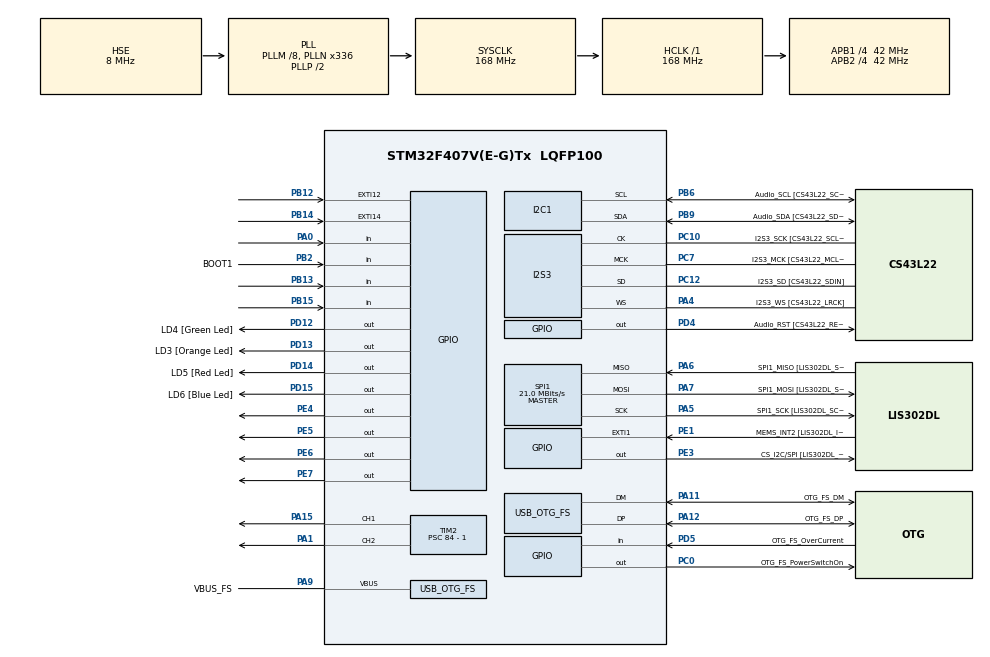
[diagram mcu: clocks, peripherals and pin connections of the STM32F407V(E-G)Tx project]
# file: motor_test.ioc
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I2S3.AudioFreq-Half_Duplex_Master=I2S_AUDIOFREQ_96K
I2S3.ErrorAudioFreq=-2.34 %
I2S3.ErrorAudioFreq-Half_Duplex_Master=0.8 %
I2S3.FullDuplexMode=I2S_FULLDUPLEXMODE_DISABLE
I2S3.Instance=SPI$Index
I2S3.RealAudioFreq=93.75 KHz
I2S3.RealAudioFreq-Half_Duplex_Master=96.774 KHz
I2S3.VirtualMode=I2S_MODE_MASTER
Mcu.Family=STM32F4
Mcu.Name=STM32F407V(E-G)Tx
Mcu.Package=LQFP100
NVIC.EXTI15_10_IRQn=true\:0\:0\:false\:false\:true\:true\:true\:true
NVIC.OTG_FS_IRQn=true\:0\:0\:false\:false\:true\:true\:true\:true
NVIC.PriorityGroup=NVIC_PRIORITYGROUP_0
NVIC.TIM3_IRQn=true\:0\:0\:false\:false\:true\:true\:true\:true
PA0-WKUP.GPIO_PuPd=GPIO_NOPULL
PA0-WKUP.Signal=GPIO_Input
PA1.Signal=S_TIM2_CH2
PA10.GPIO_Label=OTG_FS_ID
PA10.GPIO_Mode=GPIO_MODE_AF_PP
PA10.GPIO_PuPd=GPIO_NOPULL
PA10.GPIO_Speed=GPIO_SPEED_FREQ_LOW
PA10.Signal=USB_OTG_FS_ID
PA11.GPIO_Label=OTG_FS_DM
PA11.GPIO_Mode=GPIO_MODE_AF_PP
PA11.GPIO_PuPd=GPIO_NOPULL
PA11.GPIO_Speed=GPIO_SPEED_FREQ_LOW
PA11.Mode=Host_Only
PA11.Signal=USB_OTG_FS_DM
PA12.GPIO_Label=OTG_FS_DP
PA12.GPIO_Mode=GPIO_MODE_AF_PP
PA12.GPIO_PuPd=GPIO_NOPULL
PA12.GPIO_Speed=GPIO_SPEED_FREQ_LOW
PA12.Mode=Host_Only
PA12.Signal=USB_OTG_FS_DP
PA13.GPIO_Label=SWDIO
PA13.Mode=Serial_Wire
PA13.Signal=SYS_JTMS-SWDIO
PA14.GPIO_Label=SWCLK
PA14.Mode=Serial_Wire
PA14.Signal=SYS_JTCK-SWCLK
PA15.Signal=S_TIM2_CH1_ETR
PA4.GPIO_Label=I2S3_WS [CS43L22_LRCK]
PA4.GPIO_Mode=GPIO_MODE_AF_PP
PA4.GPIO_PuPd=GPIO_NOPULL
PA4.GPIO_Speed=GPIO_SPEED_FREQ_LOW
PA4.Mode=Half_Duplex_Master
PA4.Signal=I2S3_WS
PA5.GPIO_Label=SPI1_SCK [LIS302DL_SCL/SPC]
PA5.GPIO_Mode=GPIO_MODE_AF_PP
PA5.GPIO_PuPd=GPIO_NOPULL
PA5.GPIO_Speed=GPIO_SPEED_FREQ_LOW
PA5.Mode=Full_Duplex_Master
PA5.Signal=SPI1_SCK
PA6.GPIO_Label=SPI1_MISO [LIS302DL_SDO]
PA6.GPIO_Mode=GPIO_MODE_AF_PP
PA6.GPIO_PuPd=GPIO_NOPULL
PA6.GPIO_Speed=GPIO_SPEED_FREQ_LOW
PA6.Mode=Full_Duplex_Master
PA6.Signal=SPI1_MISO
PA7.GPIO_Label=SPI1_MOSI [LIS302DL_SDA/SDI/SDO]
PA7.GPIO_Mode=GPIO_MODE_AF_PP
PA7.GPIO_PuPd=GPIO_NOPULL
PA7.GPIO_Speed=GPIO_SPEED_FREQ_LOW
PA7.Mode=Full_Duplex_Master
PA7.Signal=SPI1_MOSI
PA9.GPIO_Label=VBUS_FS
PA9.GPIO_Mode=GPIO_MODE_INPUT
PA9.GPIO_PuPd=GPIO_NOPULL
PA9.Mode=Activate_VBUS
PA9.Signal=USB_OTG_FS_VBUS
PB10.GPIO_Label=CLK_IN [MP45DT02_CLK]
PB10.GPIO_Mode=GPIO_MODE_AF_PP
PB10.GPIO_PuPd=GPIO_NOPULL
PB10.GPIO_Speed=GPIO_SPEED_FREQ_LOW
PB10.Signal=I2S2_CK
PB12.GPIO_ModeDefaultEXTI=GPIO_MODE_IT_RISING_FALLING
PB12.GPIO_PuPd=GPIO_PULLDOWN
PB12.Signal=GPXTI12
PB13.GPIO_PuPd=GPIO_PULLDOWN
PB13.Signal=GPIO_Input
PB14.GPIO_ModeDefaultEXTI=GPIO_MODE_IT_RISING_FALLING
PB14.GPIO_PuPd=GPIO_PULLDOWN
PB14.Signal=GPXTI14
PB15.GPIO_PuPd=GPIO_PULLDOWN
PB15.Signal=GPIO_Input
PB2.GPIO_Label=BOOT1
PB2.GPIO_Mode=GPIO_MODE_INPUT
PB2.GPIO_PuPd=GPIO_NOPULL
PB2.Signal=GPIO_Input
PB3.GPIO_Label=SWO
PB3.Signal=SYS_JTDO-SWO
PB6.GPIO_Label=Audio_SCL [CS43L22_SCL]
PB6.GPIO_Mode=GPIO_MODE_AF_OD
PB6.GPIO_Pu=GPIO_PULLUP
PB6.GPIO_PuPd=GPIO_NOPULL
PB6.GPIO_Speed=GPIO_SPEED_FREQ_LOW
PB6.Mode=I2C
PB6.Signal=I2C1_SCL
PB9.GPIO_Label=Audio_SDA [CS43L22_SDA]
PB9.GPIO_Mode=GPIO_MODE_AF_OD
PB9.GPIO_Pu=GPIO_PULLUP
PB9.GPIO_PuPd=GPIO_NOPULL
PB9.GPIO_Speed=GPIO_SPEED_FREQ_LOW
PB9.Mode=I2C
PB9.Signal=I2C1_SDA
PC0.GPIO_Label=OTG_FS_PowerSwitchOn
PC0.GPIO_PuPd=GPIO_NOPULL
PC0.GPIO_Speed=GPIO_SPEED_FREQ_LOW
PC0.PinState=GPIO_PIN_SET
PC0.Signal=GPIO_Output
PC10.GPIO_Label=I2S3_SCK [CS43L22_SCLK]
PC10.GPIO_Mode=GPIO_MODE_AF_PP
PC10.GPIO_PuPd=GPIO_NOPULL
PC10.GPIO_Speed=GPIO_SPEED_FREQ_LOW
PC10.Mode=Half_Duplex_Master
PC10.Signal=I2S3_CK
PC12.GPIO_Label=I2S3_SD [CS43L22_SDIN]
PC12.GPIO_Mode=GPIO_MODE_AF_PP
PC12.GPIO_PuPd=GPIO_NOPULL
PC12.GPIO_Speed=GPIO_SPEED_FREQ_LOW
PC12.Mode=Half_Duplex_Master
PC12.Signal=I2S3_SD
PC14-OSC32_IN.GPIO_Label=PC14-OSC32_IN
PC14-OSC32_IN.Mode=LSE-External-Oscillator
PC14-OSC32_IN.Signal=RCC_OSC32_IN
PC15-OSC32_OUT.GPIO_Label=PC15-OSC32_OUT
PC15-OSC32_OUT.Mode=LSE-External-Oscillator
PC15-OSC32_OUT.Signal=RCC_OSC32_OUT
PC3.GPIO_Label=PDM_OUT [MP45DT02_DOUT]
PC3.GPIO_Mode=GPIO_MODE_AF_PP
PC3.GPIO_PuPd=GPIO_NOPULL
PC3.GPIO_Speed=GPIO_SPEED_FREQ_LOW
PC3.Signal=I2S2_SD
PC7.GPIO_Label=I2S3_MCK [CS43L22_MCLK]
PC7.GPIO_Mode=GPIO_MODE_AF_PP
PC7.GPIO_PuPd=GPIO_NOPULL
PC7.GPIO_Speed=GPIO_SPEED_FREQ_LOW
PC7.Mode=Master_Clock_Activated
PC7.Signal=I2S3_MCK
PD12.GPIO_Label=LD4 [Green Led]
PD12.GPIO_PuPd=GPIO_NOPULL
PD12.GPIO_Speed=GPIO_SPEED_FREQ_LOW
PD12.Signal=GPIO_Output
PD13.GPIO_Label=LD3 [Orange Led]
PD13.GPIO_PuPd=GPIO_NOPULL
PD13.GPIO_Speed=GPIO_SPEED_FREQ_LOW
PD13.Signal=GPIO_Output
PD14.GPIO_Label=LD5 [Red Led]
PD14.GPIO_PuPd=GPIO_NOPULL
PD14.GPIO_Speed=GPIO_SPEED_FREQ_LOW
PD14.Signal=GPIO_Output
PD15.GPIO_Label=LD6 [Blue Led]
PD15.GPIO_PuPd=GPIO_NOPULL
PD15.GPIO_Speed=GPIO_SPEED_FREQ_LOW
PD15.Signal=GPIO_Output
PD4.GPIO_Label=Audio_RST [CS43L22_RESET]
PD4.GPIO_PuPd=GPIO_NOPULL
PD4.GPIO_Speed=GPIO_SPEED_FREQ_LOW
PD4.Signal=GPIO_Output
PD5.GPIO_Label=OTG_FS_OverCurrent
PD5.GPIO_Mode=GPIO_MODE_INPUT
PD5.GPIO_PuPd=GPIO_NOPULL
PD5.Signal=GPIO_Input
PE1.GPIO_Label=MEMS_INT2 [LIS302DL_INT2]
PE1.GPIO_ModeDefaultEXTI=GPIO_MODE_EVT_RISING
PE1.GPIO_PuPd=GPIO_NOPULL
PE1.Signal=GPXTI1
PE3.GPIO_Label=CS_I2C/SPI [LIS302DL_CS_I2C/SPI]
PE3.GPIO_PuPd=GPIO_NOPULL
PE3.GPIO_Speed=GPIO_SPEED_FREQ_LOW
PE3.Signal=GPIO_Output
PE4.Signal=GPIO_Output
PE5.Signal=GPIO_Output
PE6.Signal=GPIO_Output
PE7.Signal=GPIO_Output
PH0-OSC_IN.GPIO_Label=PH0-OSC_IN
PH0-OSC_IN.Mode=HSE-External-Oscillator
PH0-OSC_IN.Signal=RCC_OSC_IN
PH1-OSC_OUT.GPIO_Label=PH1-OSC_OUT
PH1-OSC_OUT.Mode=HSE-External-Oscillator
PH1-OSC_OUT.Signal=RCC_OSC_OUT
ProjectManager.HeapSize=0x200
ProjectManager.StackSize=0x400
ProjectManager.TargetToolchain=STM32CubeIDE
RCC.48MHZClocksFreq_Value=48000000
RCC.AHBFreq_Value=168000000
RCC.APB1CLKDivider=RCC_HCLK_DIV4
RCC.APB1Freq_Value=42000000
RCC.APB1TimFreq_Value=84000000
RCC.APB2CLKDivider=RCC_HCLK_DIV4
RCC.APB2Freq_Value=42000000
RCC.APB2TimFreq_Value=84000000
RCC.CortexFreq_Value=168000000
RCC.HCLKFreq_Value=168000000
RCC.HSE_VALUE=8000000
RCC.HSI_VALUE=16000000
RCC.PLLM=8
RCC.PLLN=336
RCC.PLLQ=7
RCC.SYSCLKFreq_VALUE=168000000
RCC.SYSCLKSource=RCC_SYSCLKSOURCE_PLLCLK
RCC.VCOOutputFreq_Value=336000000
SH.S_TIM2_CH1_ETR.0=TIM2_CH1,PWM Generation1 CH1
SH.S_TIM2_CH2.0=TIM2_CH2,PWM Generation2 CH2
SPI1.BaudRatePrescaler-Full_Duplex_Master=SPI_BAUDRATEPRESCALER_2
SPI1.CalculateBaudRate=21.0 MBits/s
SPI1.CalculateBaudRate-Full_Duplex_Master=42.0 MBits/s
SPI1.Direction=SPI_DIRECTION_2LINES
SPI1.Mode=SPI_MODE_MASTER
SPI1.Mode-Full_Duplex_Master=SPI_MODE_MASTER
SPI1.VirtualType=VM_MASTER
TIM2.Channel-PWM\ Generation1\ CH1=TIM_CHANNEL_1
TIM2.Channel-PWM\ Generation2\ CH2=TIM_CHANNEL_2
TIM2.Period=1000 - 1
TIM2.Prescaler=84 - 1
TIM3.AutoReloadPreload=TIM_AUTORELOAD_PRELOAD_ENABLE
TIM3.Period=1000-1
TIM3.Prescaler=(84*100)-1
USB_HOST.BSP.number=1
USB_HOST.USBH_HandleTypeDef-CDC_FS=hUsbHostFS
USB_HOST.VirtualModeFS=Cdc
USB_HOST0.BSP.STBoard=false
USB_HOST0.BSP.api=Unknown
USB_HOST0.BSP.i2caddr=0
USB_HOST0.BSP.i2creg=0
USB_HOST0.BSP.instance=PC0
USB_HOST0.BSP.ip=GPIO
USB_HOST0.BSP.mode=Output
USB_HOST0.BSP.name=Drive_VBUS_FS
USB_HOST0.BSP.solution=PC0
USB_OTG_FS.VirtualMode=Host_Only
USB_OTG_FS.phy_itface=HCD_PHY_EMBEDDED
VP_TIM2_VS_ClockSourceINT.Mode=Internal
VP_TIM3_VS_ClockSourceINT.Mode=Internal
VP_USB_HOST_VS_USB_HOST_CDC_FS.Mode=CDC_FS
board=STM32F407G-DISC1

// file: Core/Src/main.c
/* USER CODE BEGIN Header */
/**
  ******************************************************************************
  * @file           : main.c
  * @brief          : Main program body
  ******************************************************************************
  * @attention
  *
  * Copyright (c) 2022 STMicroelectronics.
  * All rights reserved.
  *
  * This software is licensed under terms that can be found in the LICENSE file
  * in the root directory of this software component.
  * If no LICENSE file comes with this software, it is provided AS-IS.
  *
  ******************************************************************************
  */
/* USER CODE END Header */
#include "main.h"
#include "usb_host.h"

 I2C_HandleTypeDef hi2c1;

I2S_HandleTypeDef hi2s3;

SPI_HandleTypeDef hspi1;

TIM_HandleTypeDef htim2;
TIM_HandleTypeDef htim3;

void SystemClock_Config(void);
static void MX_GPIO_Init(void);
static void MX_I2C1_Init(void);
static void MX_I2S3_Init(void);
static void MX_SPI1_Init(void);
static void MX_TIM2_Init(void);
static void MX_TIM3_Init(void);
void MX_USB_HOST_Process(void);

/* USER CODE BEGIN PFP */
void HAL_GPIO_EXTI_Callback(uint16_t GPIO_Pin);
void HAL_TIM_PeriodElapsedCallback(TIM_HandleTypeDef *htim);
/* USER CODE END PFP */

/* USER CODE BEGIN 0 */
int wheel_1_Step = 0;
int wheel_2_Step = 0;
int wheel_1_Round = 0;
int wheel_2_Round = 0;

int last_Wheel_1_Step = 0;
int last_Wheel_2_Step = 0;
int last_Wheel_1_Round = 0;
int last_Wheel_2_Round = 0;

int wheel_1_Velocity = 0;
int wheel_2_Velocity = 0;

int button;
int reverse = 0;

int pwm_Val = 0;

int step_Per_Round_1 = 1000;
int step_Per_Round_2 = 1000;
/* USER CODE END 0 */

int main(void)
{

  /* MCU Configuration--------------------------------------------------------*/

  /* Reset of all peripherals, Initializes the Flash interface and the Systick. */
  HAL_Init();

  /* Configure the system clock */
  SystemClock_Config();

  /* Initialize all configured peripherals */
  MX_GPIO_Init();
  MX_I2C1_Init();
  MX_I2S3_Init();
  MX_SPI1_Init();
  MX_USB_HOST_Init();
  MX_TIM2_Init();
  MX_TIM3_Init();
  /* USER CODE BEGIN 2 */
  if(!reverse){
	  HAL_GPIO_WritePin(GPIOE, GPIO_PIN_4, GPIO_PIN_SET);
	  HAL_GPIO_WritePin(GPIOE, GPIO_PIN_5, GPIO_PIN_RESET);
	  HAL_GPIO_WritePin(GPIOE, GPIO_PIN_6, GPIO_PIN_SET);
	  HAL_GPIO_WritePin(GPIOE, GPIO_PIN_7, GPIO_PIN_RESET);
  }
  else{
	  HAL_GPIO_WritePin(GPIOE, GPIO_PIN_5, GPIO_PIN_SET);
	  HAL_GPIO_WritePin(GPIOE, GPIO_PIN_4, GPIO_PIN_RESET);
	  HAL_GPIO_WritePin(GPIOE, GPIO_PIN_7, GPIO_PIN_SET);
	  HAL_GPIO_WritePin(GPIOE, GPIO_PIN_6, GPIO_PIN_RESET);
  }

  TIM2->CCR1 = pwm_Val;
  TIM2->CCR2 = pwm_Val;

  HAL_TIM_PWM_Start(&htim2, TIM_CHANNEL_1);
  HAL_TIM_PWM_Start(&htim2, TIM_CHANNEL_2);

  HAL_TIM_Base_Start_IT(&htim3);

  /* USER CODE END 2 */

  /* Infinite loop */
  while (1)
  {
    MX_USB_HOST_Process();

    /* USER CODE BEGIN 3 */
    button = HAL_GPIO_ReadPin(GPIOA, GPIO_PIN_0);

    if(HAL_GPIO_ReadPin(GPIOA, GPIO_PIN_0) == GPIO_PIN_SET){

    	  HAL_TIM_PWM_Stop(&htim2, TIM_CHANNEL_1);
    	  HAL_TIM_PWM_Stop(&htim2, TIM_CHANNEL_2);
    }
  }
  /* USER CODE END 3 */
}

void SystemClock_Config(void)
{
  RCC_OscInitTypeDef RCC_OscInitStruct = {0};
  RCC_ClkInitTypeDef RCC_ClkInitStruct = {0};

  /** Configure the main internal regulator output voltage
  */
  __HAL_RCC_PWR_CLK_ENABLE();
  __HAL_PWR_VOLTAGESCALING_CONFIG(PWR_REGULATOR_VOLTAGE_SCALE1);

  /** Initializes the RCC Oscillators according to the specified parameters
  * in the RCC_OscInitTypeDef structure.
  */
  RCC_OscInitStruct.OscillatorType = RCC_OSCILLATORTYPE_HSE;
  RCC_OscInitStruct.HSEState = RCC_HSE_ON;
  RCC_OscInitStruct.PLL.PLLState = RCC_PLL_ON;
  RCC_OscInitStruct.PLL.PLLSource = RCC_PLLSOURCE_HSE;
  RCC_OscInitStruct.PLL.PLLM = 8;
  RCC_OscInitStruct.PLL.PLLN = 336;
  RCC_OscInitStruct.PLL.PLLP = RCC_PLLP_DIV2;
  RCC_OscInitStruct.PLL.PLLQ = 7;
  if (HAL_RCC_OscConfig(&RCC_OscInitStruct) != HAL_OK)
  {
    Error_Handler();
  }

  /** Initializes the CPU, AHB and APB buses clocks
  */
  RCC_ClkInitStruct.ClockType = RCC_CLOCKTYPE_HCLK|RCC_CLOCKTYPE_SYSCLK
                              |RCC_CLOCKTYPE_PCLK1|RCC_CLOCKTYPE_PCLK2;
  RCC_ClkInitStruct.SYSCLKSource = RCC_SYSCLKSOURCE_PLLCLK;
  RCC_ClkInitStruct.AHBCLKDivider = RCC_SYSCLK_DIV1;
  RCC_ClkInitStruct.APB1CLKDivider = RCC_HCLK_DIV4;
  RCC_ClkInitStruct.APB2CLKDivider = RCC_HCLK_DIV4;

  if (HAL_RCC_ClockConfig(&RCC_ClkInitStruct, FLASH_LATENCY_5) != HAL_OK)
  {
    Error_Handler();
  }
}

static void MX_I2C1_Init(void)
{

  hi2c1.Instance = I2C1;
  hi2c1.Init.ClockSpeed = 100000;
  hi2c1.Init.DutyCycle = I2C_DUTYCYCLE_2;
  hi2c1.Init.OwnAddress1 = 0;
  hi2c1.Init.AddressingMode = I2C_ADDRESSINGMODE_7BIT;
  hi2c1.Init.DualAddressMode = I2C_DUALADDRESS_DISABLE;
  hi2c1.Init.OwnAddress2 = 0;
  hi2c1.Init.GeneralCallMode = I2C_GENERALCALL_DISABLE;
  hi2c1.Init.NoStretchMode = I2C_NOSTRETCH_DISABLE;
  if (HAL_I2C_Init(&hi2c1) != HAL_OK)
  {
    Error_Handler();
  }

}

static void MX_I2S3_Init(void)
{

  hi2s3.Instance = SPI3;
  hi2s3.Init.Mode = I2S_MODE_MASTER_TX;
  hi2s3.Init.Standard = I2S_STANDARD_PHILIPS;
  hi2s3.Init.DataFormat = I2S_DATAFORMAT_16B;
  hi2s3.Init.MCLKOutput = I2S_MCLKOUTPUT_ENABLE;
  hi2s3.Init.AudioFreq = I2S_AUDIOFREQ_96K;
  hi2s3.Init.CPOL = I2S_CPOL_LOW;
  hi2s3.Init.ClockSource = I2S_CLOCK_PLL;
  hi2s3.Init.FullDuplexMode = I2S_FULLDUPLEXMODE_DISABLE;
  if (HAL_I2S_Init(&hi2s3) != HAL_OK)
  {
    Error_Handler();
  }

}

static void MX_SPI1_Init(void)
{

  /* SPI1 parameter configuration*/
  hspi1.Instance = SPI1;
  hspi1.Init.Mode = SPI_MODE_MASTER;
  hspi1.Init.Direction = SPI_DIRECTION_2LINES;
  hspi1.Init.DataSize = SPI_DATASIZE_8BIT;
  hspi1.Init.CLKPolarity = SPI_POLARITY_LOW;
  hspi1.Init.CLKPhase = SPI_PHASE_1EDGE;
  hspi1.Init.NSS = SPI_NSS_SOFT;
  hspi1.Init.BaudRatePrescaler = SPI_BAUDRATEPRESCALER_2;
  hspi1.Init.FirstBit = SPI_FIRSTBIT_MSB;
  hspi1.Init.TIMode = SPI_TIMODE_DISABLE;
  hspi1.Init.CRCCalculation = SPI_CRCCALCULATION_DISABLE;
  hspi1.Init.CRCPolynomial = 10;
  if (HAL_SPI_Init(&hspi1) != HAL_OK)
  {
    Error_Handler();
  }

}

static void MX_TIM2_Init(void)
{

  TIM_ClockConfigTypeDef sClockSourceConfig = {0};
  TIM_MasterConfigTypeDef sMasterConfig = {0};
  TIM_OC_InitTypeDef sConfigOC = {0};

  htim2.Instance = TIM2;
  htim2.Init.Prescaler = 84 - 1;
  htim2.Init.CounterMode = TIM_COUNTERMODE_UP;
  htim2.Init.Period = 1000 - 1;
  htim2.Init.ClockDivision = TIM_CLOCKDIVISION_DIV1;
  htim2.Init.AutoReloadPreload = TIM_AUTORELOAD_PRELOAD_DISABLE;
  if (HAL_TIM_Base_Init(&htim2) != HAL_OK)
  {
    Error_Handler();
  }
  sClockSourceConfig.ClockSource = TIM_CLOCKSOURCE_INTERNAL;
  if (HAL_TIM_ConfigClockSource(&htim2, &sClockSourceConfig) != HAL_OK)
  {
    Error_Handler();
  }
  if (HAL_TIM_PWM_Init(&htim2) != HAL_OK)
  {
    Error_Handler();
  }
  sMasterConfig.MasterOutputTrigger = TIM_TRGO_RESET;
  sMasterConfig.MasterSlaveMode = TIM_MASTERSLAVEMODE_DISABLE;
  if (HAL_TIMEx_MasterConfigSynchronization(&htim2, &sMasterConfig) != HAL_OK)
  {
    Error_Handler();
  }
  sConfigOC.OCMode = TIM_OCMODE_PWM1;
  sConfigOC.Pulse = 0;
  sConfigOC.OCPolarity = TIM_OCPOLARITY_HIGH;
  sConfigOC.OCFastMode = TIM_OCFAST_DISABLE;
  if (HAL_TIM_PWM_ConfigChannel(&htim2, &sConfigOC, TIM_CHANNEL_1) != HAL_OK)
  {
    Error_Handler();
  }
  if (HAL_TIM_PWM_ConfigChannel(&htim2, &sConfigOC, TIM_CHANNEL_2) != HAL_OK)
  {
    Error_Handler();
  }
  HAL_TIM_MspPostInit(&htim2);

}

static void MX_TIM3_Init(void)
{

  TIM_ClockConfigTypeDef sClockSourceConfig = {0};
  TIM_MasterConfigTypeDef sMasterConfig = {0};

  htim3.Instance = TIM3;
  htim3.Init.Prescaler = (84*100)-1;
  htim3.Init.CounterMode = TIM_COUNTERMODE_UP;
  htim3.Init.Period = 1000-1;
  htim3.Init.ClockDivision = TIM_CLOCKDIVISION_DIV1;
  htim3.Init.AutoReloadPreload = TIM_AUTORELOAD_PRELOAD_ENABLE;
  if (HAL_TIM_Base_Init(&htim3) != HAL_OK)
  {
    Error_Handler();
  }
  sClockSourceConfig.ClockSource = TIM_CLOCKSOURCE_INTERNAL;
  if (HAL_TIM_ConfigClockSource(&htim3, &sClockSourceConfig) != HAL_OK)
  {
    Error_Handler();
  }
  sMasterConfig.MasterOutputTrigger = TIM_TRGO_RESET;
  sMasterConfig.MasterSlaveMode = TIM_MASTERSLAVEMODE_DISABLE;
  if (HAL_TIMEx_MasterConfigSynchronization(&htim3, &sMasterConfig) != HAL_OK)
  {
    Error_Handler();
  }

}

static void MX_GPIO_Init(void)
{
  GPIO_InitTypeDef GPIO_InitStruct = {0};

  /* GPIO Ports Clock Enable */
  __HAL_RCC_GPIOE_CLK_ENABLE();
  __HAL_RCC_GPIOC_CLK_ENABLE();
  __HAL_RCC_GPIOH_CLK_ENABLE();
  __HAL_RCC_GPIOA_CLK_ENABLE();
  __HAL_RCC_GPIOB_CLK_ENABLE();
  __HAL_RCC_GPIOD_CLK_ENABLE();

  /*Configure GPIO pin Output Level */
  HAL_GPIO_WritePin(GPIOE, CS_I2C_SPI_Pin|GPIO_PIN_4|GPIO_PIN_5|GPIO_PIN_6
                          |GPIO_PIN_7, GPIO_PIN_RESET);

  /*Configure GPIO pin Output Level */
  HAL_GPIO_WritePin(OTG_FS_PowerSwitchOn_GPIO_Port, OTG_FS_PowerSwitchOn_Pin, GPIO_PIN_SET);

  /*Configure GPIO pin Output Level */
  HAL_GPIO_WritePin(GPIOD, LD4_Pin|LD3_Pin|LD5_Pin|LD6_Pin
                          |Audio_RST_Pin, GPIO_PIN_RESET);

  /*Configure GPIO pins : CS_I2C_SPI_Pin PE4 PE5 PE6
                           PE7 */
  GPIO_InitStruct.Pin = CS_I2C_SPI_Pin|GPIO_PIN_4|GPIO_PIN_5|GPIO_PIN_6
                          |GPIO_PIN_7;
  GPIO_InitStruct.Mode = GPIO_MODE_OUTPUT_PP;
  GPIO_InitStruct.Pull = GPIO_NOPULL;
  GPIO_InitStruct.Speed = GPIO_SPEED_FREQ_LOW;
  HAL_GPIO_Init(GPIOE, &GPIO_InitStruct);

  /*Configure GPIO pin : OTG_FS_PowerSwitchOn_Pin */
  GPIO_InitStruct.Pin = OTG_FS_PowerSwitchOn_Pin;
  GPIO_InitStruct.Mode = GPIO_MODE_OUTPUT_PP;
  GPIO_InitStruct.Pull = GPIO_NOPULL;
  GPIO_InitStruct.Speed = GPIO_SPEED_FREQ_LOW;
  HAL_GPIO_Init(OTG_FS_PowerSwitchOn_GPIO_Port, &GPIO_InitStruct);

  /*Configure GPIO pin : PDM_OUT_Pin */
  GPIO_InitStruct.Pin = PDM_OUT_Pin;
  GPIO_InitStruct.Mode = GPIO_MODE_AF_PP;
  GPIO_InitStruct.Pull = GPIO_NOPULL;
  GPIO_InitStruct.Speed = GPIO_SPEED_FREQ_LOW;
  GPIO_InitStruct.Alternate = GPIO_AF5_SPI2;
  HAL_GPIO_Init(PDM_OUT_GPIO_Port, &GPIO_InitStruct);

  /*Configure GPIO pin : PA0 */
  GPIO_InitStruct.Pin = GPIO_PIN_0;
  GPIO_InitStruct.Mode = GPIO_MODE_INPUT;
  GPIO_InitStruct.Pull = GPIO_NOPULL;
  HAL_GPIO_Init(GPIOA, &GPIO_InitStruct);

  /*Configure GPIO pin : BOOT1_Pin */
  GPIO_InitStruct.Pin = BOOT1_Pin;
  GPIO_InitStruct.Mode = GPIO_MODE_INPUT;
  GPIO_InitStruct.Pull = GPIO_NOPULL;
  HAL_GPIO_Init(BOOT1_GPIO_Port, &GPIO_InitStruct);

  /*Configure GPIO pin : CLK_IN_Pin */
  GPIO_InitStruct.Pin = CLK_IN_Pin;
  GPIO_InitStruct.Mode = GPIO_MODE_AF_PP;
  GPIO_InitStruct.Pull = GPIO_NOPULL;
  GPIO_InitStruct.Speed = GPIO_SPEED_FREQ_LOW;
  GPIO_InitStruct.Alternate = GPIO_AF5_SPI2;
  HAL_GPIO_Init(CLK_IN_GPIO_Port, &GPIO_InitStruct);

  /*Configure GPIO pins : PB12 PB14 */
  GPIO_InitStruct.Pin = GPIO_PIN_12|GPIO_PIN_14;
  GPIO_InitStruct.Mode = GPIO_MODE_IT_RISING_FALLING;
  GPIO_InitStruct.Pull = GPIO_PULLDOWN;
  HAL_GPIO_Init(GPIOB, &GPIO_InitStruct);

  /*Configure GPIO pins : PB13 PB15 */
  GPIO_InitStruct.Pin = GPIO_PIN_13|GPIO_PIN_15;
  GPIO_InitStruct.Mode = GPIO_MODE_INPUT;
  GPIO_InitStruct.Pull = GPIO_PULLDOWN;
  HAL_GPIO_Init(GPIOB, &GPIO_InitStruct);

  /*Configure GPIO pins : LD4_Pin LD3_Pin LD5_Pin LD6_Pin
                           Audio_RST_Pin */
  GPIO_InitStruct.Pin = LD4_Pin|LD3_Pin|LD5_Pin|LD6_Pin
                          |Audio_RST_Pin;
  GPIO_InitStruct.Mode = GPIO_MODE_OUTPUT_PP;
  GPIO_InitStruct.Pull = GPIO_NOPULL;
  GPIO_InitStruct.Speed = GPIO_SPEED_FREQ_LOW;
  HAL_GPIO_Init(GPIOD, &GPIO_InitStruct);

  /*Configure GPIO pin : OTG_FS_OverCurrent_Pin */
  GPIO_InitStruct.Pin = OTG_FS_OverCurrent_Pin;
  GPIO_InitStruct.Mode = GPIO_MODE_INPUT;
  GPIO_InitStruct.Pull = GPIO_NOPULL;
  HAL_GPIO_Init(OTG_FS_OverCurrent_GPIO_Port, &GPIO_InitStruct);

  /*Configure GPIO pin : MEMS_INT2_Pin */
  GPIO_InitStruct.Pin = MEMS_INT2_Pin;
  GPIO_InitStruct.Mode = GPIO_MODE_EVT_RISING;
  GPIO_InitStruct.Pull = GPIO_NOPULL;
  HAL_GPIO_Init(MEMS_INT2_GPIO_Port, &GPIO_InitStruct);

  /* EXTI interrupt init*/
  HAL_NVIC_SetPriority(EXTI15_10_IRQn, 0, 0);
  HAL_NVIC_EnableIRQ(EXTI15_10_IRQn);

}

/* USER CODE BEGIN 4 */
void HAL_GPIO_EXTI_Callback(uint16_t GPIO_PIN){
	if(GPIO_PIN == GPIO_PIN_12){
		//pb12 rising edge
		if(HAL_GPIO_ReadPin(GPIOB, GPIO_PIN_12)){
			//pb13 HIGH and pb12 rising edge
			if(HAL_GPIO_ReadPin(GPIOB, GPIO_PIN_13)){
				wheel_1_Step--;
			}
			//pb13 LOW and pb12 rising edge
			else{
				wheel_1_Step++;
			}
		}
		//pb12 falling edge
		else{
			//pb13 HIGH and pb12 falling edge
			if(HAL_GPIO_ReadPin(GPIOB, GPIO_PIN_13)){
				wheel_1_Step++;
			}
			//pb13 LOW and pb12 falling edge
			else{
				wheel_1_Step--;
			}
		}

		if(wheel_1_Step > step_Per_Round_1){
			wheel_1_Step = 0;
			wheel_1_Round++;
		}
		else if(wheel_1_Step < 0){
			wheel_1_Step = step_Per_Round_1;
			wheel_1_Round--;
		}

		return;
	}
	else if(GPIO_PIN == GPIO_PIN_14){
		//pb14 rising edge
		if(HAL_GPIO_ReadPin(GPIOB, GPIO_PIN_14)){
			//pb15 HIGH and pb14 rising edge
			if(HAL_GPIO_ReadPin(GPIOB, GPIO_PIN_15)){
				wheel_2_Step--;
			}
			//pb15 LOW and pb14 rising edge
			else{
				wheel_2_Step++;
			}
		}
		//pb12 falling edge
		else{
			//pb15 HIGH and pb14 falling edge
			if(HAL_GPIO_ReadPin(GPIOB, GPIO_PIN_15)){
				wheel_2_Step++;
			}
			//pb15 LOW and pb14 falling edge
			else{
				wheel_2_Step--;
			}
		}

		if(wheel_2_Step > step_Per_Round_2){
			wheel_2_Step = 0;
			wheel_2_Round++;
		}
		else if(wheel_2_Step < 0){
			wheel_2_Step = step_Per_Round_2;
			wheel_2_Round--;
		}

		return;
	}
}

void HAL_TIM_PeriodElapsedCallback(TIM_HandleTypeDef *htim){
	if(htim->Instance == TIM3){
		float wheel_1_Pos = wheel_1_Round + (wheel_1_Step/(float)step_Per_Round_1);
		float last_Wheel_1_Pos = last_Wheel_1_Round + (last_Wheel_1_Step/(float)step_Per_Round_1);

		wheel_1_Velocity = (wheel_1_Pos - last_Wheel_1_Pos)/0.1;

		last_Wheel_1_Step = wheel_1_Step;
		last_Wheel_1_Round = wheel_1_Round;

		float wheel_2_Pos = wheel_2_Round + (wheel_2_Step/(float)step_Per_Round_2);
		float last_Wheel_2_Pos = last_Wheel_2_Round + (last_Wheel_2_Step/(float)step_Per_Round_2);

		wheel_2_Velocity = (wheel_2_Pos - last_Wheel_2_Pos)/0.1;

		last_Wheel_2_Step = wheel_2_Step;
		last_Wheel_2_Round = wheel_2_Round;
	}

	return;
}
/* USER CODE END 4 */

void Error_Handler(void)
{
  __disable_irq();
  while (1)
  {
  }
}
